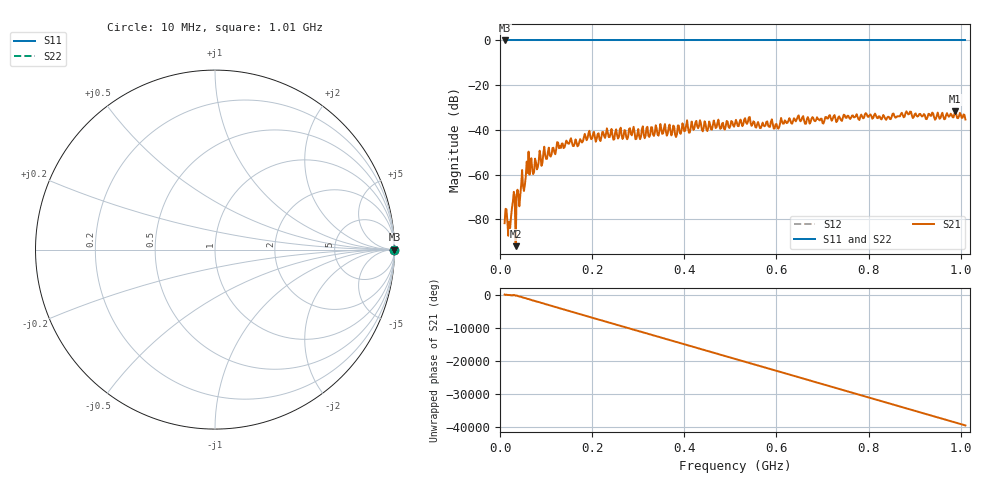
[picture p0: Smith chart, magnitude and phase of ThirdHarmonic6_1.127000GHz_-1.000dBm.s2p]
! 8/16/2025 10:55:13 AM
! C:\ANRITSUVNA\TEMP\TEMP.S2P
! CHANNEL.1
! TR.MEASUREMENT
! RAW.DATA
! RF.CORRECTION.OFF
! AVERAGING.OFF
! IF.BANDWIDTH: 5KHZ
! SWEEPTYPE:  FREQ.SWEEP(Linear)
! Reference Plane Port Info
! PORT:  PORT1  PORT2
! DISTANCE:  0  m  0  m
! TIME:  0  s  0  s
! PHASE.OFFSET:  0  deg.  0  deg.
! LOSS:  0  dB  0  dB
! REF.LOSS:  0  dB  0  dB
! REF.FREQ:  0  Hz  0  Hz
! Power Info
! POWER:  -20  dBm  -20  dBm
! EFF.POWER:  -20  dBm  -20  dBm
! SOURCE.ATTEN:  0  dB  0  dB
! TEST.ATTEN:  0  dB  0  dB
# GHZ S RI R 50.0
! FREQ.GHZ  S11RE  S11IM  S21RE  S21IM  S12RE  S12IM  S22RE  S22IM
!; PortSelection: Port_12
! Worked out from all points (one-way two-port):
!   501 points, 10 MHz to 1.01 GHz, reference 50 ohm
!   highest |S21| = -31.63 dB at 988 MHz (marker M1); lowest = -92.0 dB at 34 MHz (marker M2)
!   lowest |S11| = 0.0 dB at 10 MHz (marker M3)
!   |S11| at or under -10 dB: nowhere
!   |S22| runs from 0.0 to 0.0 dB; largest |S21 - S12| = 1
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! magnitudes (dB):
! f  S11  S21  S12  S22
! 10 MHz  0.0  -81.7  0.0  0.0
! 20 MHz  0.0  -81.0  0.0  0.0
! 28 MHz  0.0  -72.0  0.0  0.0
! 34 MHz  0.0  -92.0  0.0  0.0
! 38 MHz  0.0  -66.7  0.0  0.0
! 62 MHz  0.0  -49.7  0.0  0.0
! 76 MHz  0.0  -52.8  0.0  0.0
! 126 MHz  0.0  -45.6  0.0  0.0
! 178 MHz  0.0  -45.6  0.0  0.0
! 228 MHz  0.0  -43.6  0.0  0.0
! 286 MHz  0.0  -42.4  0.0  0.0
! 300 MHz  0.0  -39.6  0.0  0.0
! 344 MHz  0.0  -42.5  0.0  0.0
! 510 MHz  0.0  -37.2  0.0  0.0
! 538 MHz  0.0  -36.3  0.0  0.0
! 600 MHz  0.0  -37.4  0.0  0.0
! 644 MHz  0.0  -35.3  0.0  0.0
! 678 MHz  0.0  -34.3  0.0  0.0
! 844 MHz  0.0  -34.2  0.0  0.0
! 886 MHz  0.0  -33.0  0.0  0.0
! 988 MHz  0.0  -31.6  0.0  0.0
! 1.01 GHz  0.0  -35.3  0.0  0.0
